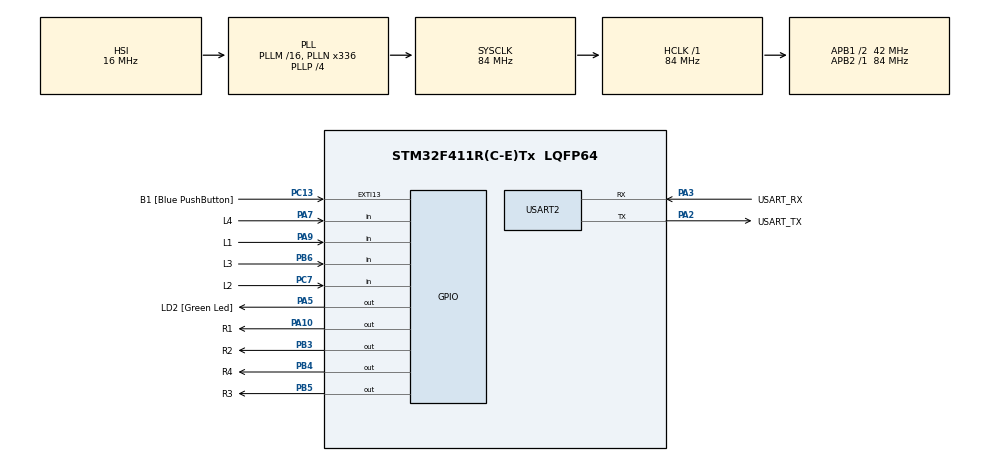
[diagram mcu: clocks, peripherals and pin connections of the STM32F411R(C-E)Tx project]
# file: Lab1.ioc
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Mcu.Family=STM32F4
Mcu.Name=STM32F411R(C-E)Tx
Mcu.Package=LQFP64
NVIC.PriorityGroup=NVIC_PRIORITYGROUP_0
PA10.GPIO_Label=R1
PA10.PinState=GPIO_PIN_SET
PA10.Signal=GPIO_Output
PA13.GPIO_Label=TMS
PA13.Mode=Serial_Wire
PA13.Signal=SYS_JTMS-SWDIO
PA14.GPIO_Label=TCK
PA14.Mode=Serial_Wire
PA14.Signal=SYS_JTCK-SWCLK
PA2.GPIO_Label=USART_TX
PA2.Mode=Asynchronous
PA2.Signal=USART2_TX
PA3.GPIO_Label=USART_RX
PA3.Mode=Asynchronous
PA3.Signal=USART2_RX
PA5.GPIO_Label=LD2 [Green Led]
PA5.Signal=GPIO_Output
PA7.GPIO_Label=L4
PA7.GPIO_PuPd=GPIO_PULLUP
PA7.Signal=GPIO_Input
PA9.GPIO_Label=L1
PA9.GPIO_PuPd=GPIO_PULLUP
PA9.Signal=GPIO_Input
PB3.GPIO_Label=R2
PB3.PinState=GPIO_PIN_SET
PB3.Signal=GPIO_Output
PB4.GPIO_Label=R4
PB4.PinState=GPIO_PIN_SET
PB4.Signal=GPIO_Output
PB5.GPIO_Label=R3
PB5.PinState=GPIO_PIN_SET
PB5.Signal=GPIO_Output
PB6.GPIO_Label=L3
PB6.GPIO_PuPd=GPIO_PULLUP
PB6.Signal=GPIO_Input
PC13-ANTI_TAMP.GPIO_Label=B1 [Blue PushButton]
PC13-ANTI_TAMP.GPIO_ModeDefaultEXTI=GPIO_MODE_IT_FALLING
PC13-ANTI_TAMP.Signal=GPXTI13
PC14-OSC32_IN.Mode=LSE-External-Oscillator
PC14-OSC32_IN.Signal=RCC_OSC32_IN
PC15-OSC32_OUT.Mode=LSE-External-Oscillator
PC15-OSC32_OUT.Signal=RCC_OSC32_OUT
PC7.GPIO_Label=L2
PC7.GPIO_PuPd=GPIO_PULLUP
PC7.Signal=GPIO_Input
PH0\ -\ OSC_IN.Mode=HSE-External-Clock-Source
PH0\ -\ OSC_IN.Signal=RCC_OSC_IN
PH1\ -\ OSC_OUT.Mode=HSE-External-Clock-Source
PH1\ -\ OSC_OUT.Signal=RCC_OSC_OUT
ProjectManager.HeapSize=0x200
ProjectManager.StackSize=0x400
ProjectManager.TargetToolchain=STM32CubeIDE
RCC.48MHZClocksFreq_Value=84000000
RCC.AHBFreq_Value=84000000
RCC.APB1CLKDivider=RCC_HCLK_DIV2
RCC.APB1Freq_Value=42000000
RCC.APB1TimFreq_Value=84000000
RCC.APB2Freq_Value=84000000
RCC.APB2TimFreq_Value=84000000
RCC.CortexFreq_Value=84000000
RCC.FLatency-AdvancedSettings=FLASH_LATENCY_2
RCC.HCLKFreq_Value=84000000
RCC.HSE_VALUE=8000000
RCC.HSI_VALUE=16000000
RCC.PLLN=336
RCC.PLLP=RCC_PLLP_DIV4
RCC.SYSCLKFreq_VALUE=84000000
RCC.SYSCLKSource=RCC_SYSCLKSOURCE_PLLCLK
RCC.VCOOutputFreq_Value=336000000
USART2.VirtualMode=VM_ASYNC
board=NUCLEO-F411RE

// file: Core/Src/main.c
/* USER CODE BEGIN Header */
/**
 ******************************************************************************
 * @file           : main.c
 * @brief          : Main program body
 ******************************************************************************
 * @attention
 *
 * Copyright (c) 2023 STMicroelectronics.
 * All rights reserved.
 *
 * This software is licensed under terms that can be found in the LICENSE file
 * in the root directory of this software component.
 * If no LICENSE file comes with this software, it is provided AS-IS.
 *
 ******************************************************************************
 */
/* USER CODE END Header */
#include "main.h"

UART_HandleTypeDef huart2;

/* USER CODE BEGIN PV */

//create Structure of PortPin ,Typedef it to type name PortPin
typedef struct _PortPin {
	GPIO_TypeDef *PORT;
	uint16_t PIN;
} PortPin;

//declare PortPin R,L
PortPin R[4] = { { GPIOA, GPIO_PIN_10 }, { GPIOB, GPIO_PIN_3 }, { GPIOB,
GPIO_PIN_5 }, { GPIOB, GPIO_PIN_4 } };

PortPin L[4] = { { GPIOA, GPIO_PIN_9 }, { GPIOC, GPIO_PIN_7 }, { GPIOB,
GPIO_PIN_6 }, { GPIOA, GPIO_PIN_7 } };

//For Button Contenter  // create tuapeeee
uint16_t ButtonMatrix = 0;

uint32_t SumNumber = 0;
uint32_t LastButton = 0;
uint32_t FirstNumber = 0;
uint32_t MidNumber = 0;
uint32_t LastNumber = 0;
/* USER CODE END PV */

void SystemClock_Config(void);
static void MX_GPIO_Init(void);
static void MX_USART2_UART_Init(void);
/* USER CODE BEGIN PFP */
void ReadMatrixButton_1Row();
/* USER CODE END PFP */

int main(void)
{

  /* MCU Configuration--------------------------------------------------------*/

  /* Reset of all peripherals, Initializes the Flash interface and the Systick. */
  HAL_Init();

  /* Configure the system clock */
  SystemClock_Config();

  /* Initialize all configured peripherals */
  MX_GPIO_Init();
  MX_USART2_UART_Init();

  /* Infinite loop */
	while (1) {

    /* USER CODE BEGIN 3 */
		//Call function every 10 ms = 100Hz
		static uint32_t timestamp = 0;
		if (HAL_GetTick() >= timestamp) {
			timestamp = HAL_GetTick() + 10;
			ReadMatrixButton_1Row();

			if (LastButton == 0 && ButtonMatrix > 0)
			{
				if (ButtonMatrix == 8) // 0
				{
					SumNumber += 8;
				}

				else if (ButtonMatrix == 4) // 1
				{
					SumNumber += 4;
				}

				else if (ButtonMatrix == 64) // 2
				{
					SumNumber += 64;
				}

				else if (ButtonMatrix == 1024) // 3
				{
					SumNumber += 1024;
				}

				else if (ButtonMatrix == 2) // 4
				{
					if (SumNumber == 2116){
						LastNumber += 1;
					}

					SumNumber += 2;
				}

				else if (ButtonMatrix == 32) // 5
				{
					if (SumNumber == 1548){ // 64340
						MidNumber += 1;
					}

					SumNumber += 32;
				}

				else if (ButtonMatrix == 512) // 6
				{
					if(SumNumber == 0){
						FirstNumber += 1;
					}

					SumNumber += 512;

				}

				else if (ButtonMatrix == 1) // 7
				{
					SumNumber += 1;
				}

				else if (ButtonMatrix == 16 ) // 8
				{
					SumNumber += 16;
				}

				else if (ButtonMatrix == 256) // 9
				{
					SumNumber += 256;
				}

				//LastButton = Button ;

				if (ButtonMatrix == 4096) // clear
					{
					HAL_GPIO_WritePin(GPIOA, GPIO_PIN_5, RESET); // LED OFF
					SumNumber = 0;
					FirstNumber = 0;
					MidNumber = 0;
					LastNumber = 0;
					}

				if ((ButtonMatrix == 32768) && (SumNumber == 2118) && (FirstNumber == 1 ) && (MidNumber == 1) && (LastNumber == 1)) // OK 64340500064
					{

					HAL_GPIO_WritePin(GPIOA, GPIO_PIN_5, SET); // LED ON
					}
			}

			LastButton = ButtonMatrix;
		}
	}

  /* USER CODE END 3 */
}

void SystemClock_Config(void)
{
  RCC_OscInitTypeDef RCC_OscInitStruct = {0};
  RCC_ClkInitTypeDef RCC_ClkInitStruct = {0};

  /** Configure the main internal regulator output voltage
  */
  __HAL_RCC_PWR_CLK_ENABLE();
  __HAL_PWR_VOLTAGESCALING_CONFIG(PWR_REGULATOR_VOLTAGE_SCALE1);

  /** Initializes the RCC Oscillators according to the specified parameters
  * in the RCC_OscInitTypeDef structure.
  */
  RCC_OscInitStruct.OscillatorType = RCC_OSCILLATORTYPE_HSI;
  RCC_OscInitStruct.HSIState = RCC_HSI_ON;
  RCC_OscInitStruct.HSICalibrationValue = RCC_HSICALIBRATION_DEFAULT;
  RCC_OscInitStruct.PLL.PLLState = RCC_PLL_ON;
  RCC_OscInitStruct.PLL.PLLSource = RCC_PLLSOURCE_HSI;
  RCC_OscInitStruct.PLL.PLLM = 16;
  RCC_OscInitStruct.PLL.PLLN = 336;
  RCC_OscInitStruct.PLL.PLLP = RCC_PLLP_DIV4;
  RCC_OscInitStruct.PLL.PLLQ = 4;
  if (HAL_RCC_OscConfig(&RCC_OscInitStruct) != HAL_OK)
  {
    Error_Handler();
  }

  /** Initializes the CPU, AHB and APB buses clocks
  */
  RCC_ClkInitStruct.ClockType = RCC_CLOCKTYPE_HCLK|RCC_CLOCKTYPE_SYSCLK
                              |RCC_CLOCKTYPE_PCLK1|RCC_CLOCKTYPE_PCLK2;
  RCC_ClkInitStruct.SYSCLKSource = RCC_SYSCLKSOURCE_PLLCLK;
  RCC_ClkInitStruct.AHBCLKDivider = RCC_SYSCLK_DIV1;
  RCC_ClkInitStruct.APB1CLKDivider = RCC_HCLK_DIV2;
  RCC_ClkInitStruct.APB2CLKDivider = RCC_HCLK_DIV1;

  if (HAL_RCC_ClockConfig(&RCC_ClkInitStruct, FLASH_LATENCY_2) != HAL_OK)
  {
    Error_Handler();
  }
}

static void MX_USART2_UART_Init(void)
{

  huart2.Instance = USART2;
  huart2.Init.BaudRate = 115200;
  huart2.Init.WordLength = UART_WORDLENGTH_8B;
  huart2.Init.StopBits = UART_STOPBITS_1;
  huart2.Init.Parity = UART_PARITY_NONE;
  huart2.Init.Mode = UART_MODE_TX_RX;
  huart2.Init.HwFlowCtl = UART_HWCONTROL_NONE;
  huart2.Init.OverSampling = UART_OVERSAMPLING_16;
  if (HAL_UART_Init(&huart2) != HAL_OK)
  {
    Error_Handler();
  }

}

static void MX_GPIO_Init(void)
{
  GPIO_InitTypeDef GPIO_InitStruct = {0};

  /* GPIO Ports Clock Enable */
  __HAL_RCC_GPIOC_CLK_ENABLE();
  __HAL_RCC_GPIOH_CLK_ENABLE();
  __HAL_RCC_GPIOA_CLK_ENABLE();
  __HAL_RCC_GPIOB_CLK_ENABLE();

  /*Configure GPIO pin Output Level */
  HAL_GPIO_WritePin(LD2_GPIO_Port, LD2_Pin, GPIO_PIN_RESET);

  /*Configure GPIO pin Output Level */
  HAL_GPIO_WritePin(R1_GPIO_Port, R1_Pin, GPIO_PIN_SET);

  /*Configure GPIO pin Output Level */
  HAL_GPIO_WritePin(GPIOB, R2_Pin|R4_Pin|R3_Pin, GPIO_PIN_SET);

  /*Configure GPIO pin : B1_Pin */
  GPIO_InitStruct.Pin = B1_Pin;
  GPIO_InitStruct.Mode = GPIO_MODE_IT_FALLING;
  GPIO_InitStruct.Pull = GPIO_NOPULL;
  HAL_GPIO_Init(B1_GPIO_Port, &GPIO_InitStruct);

  /*Configure GPIO pins : LD2_Pin R1_Pin */
  GPIO_InitStruct.Pin = LD2_Pin|R1_Pin;
  GPIO_InitStruct.Mode = GPIO_MODE_OUTPUT_PP;
  GPIO_InitStruct.Pull = GPIO_NOPULL;
  GPIO_InitStruct.Speed = GPIO_SPEED_FREQ_LOW;
  HAL_GPIO_Init(GPIOA, &GPIO_InitStruct);

  /*Configure GPIO pins : L4_Pin L1_Pin */
  GPIO_InitStruct.Pin = L4_Pin|L1_Pin;
  GPIO_InitStruct.Mode = GPIO_MODE_INPUT;
  GPIO_InitStruct.Pull = GPIO_PULLUP;
  HAL_GPIO_Init(GPIOA, &GPIO_InitStruct);

  /*Configure GPIO pin : L2_Pin */
  GPIO_InitStruct.Pin = L2_Pin;
  GPIO_InitStruct.Mode = GPIO_MODE_INPUT;
  GPIO_InitStruct.Pull = GPIO_PULLUP;
  HAL_GPIO_Init(L2_GPIO_Port, &GPIO_InitStruct);

  /*Configure GPIO pins : R2_Pin R4_Pin R3_Pin */
  GPIO_InitStruct.Pin = R2_Pin|R4_Pin|R3_Pin;
  GPIO_InitStruct.Mode = GPIO_MODE_OUTPUT_PP;
  GPIO_InitStruct.Pull = GPIO_NOPULL;
  GPIO_InitStruct.Speed = GPIO_SPEED_FREQ_LOW;
  HAL_GPIO_Init(GPIOB, &GPIO_InitStruct);

  /*Configure GPIO pin : L3_Pin */
  GPIO_InitStruct.Pin = L3_Pin;
  GPIO_InitStruct.Mode = GPIO_MODE_INPUT;
  GPIO_InitStruct.Pull = GPIO_PULLUP;
  HAL_GPIO_Init(L3_GPIO_Port, &GPIO_InitStruct);

}

/* USER CODE BEGIN 4 */
void ReadMatrixButton_1Row() {
	//
	static uint8_t X = 0;

	//READ L1-L4
	register int i;
	for (i = 0; i < 4; i++) {
		if (HAL_GPIO_ReadPin(L[i].PORT, L[i].PIN))
		{
			ButtonMatrix &= ~(1 << (X * 4 + i));

		}
		else
		{
			ButtonMatrix |= 1 << (X * 4 + i);

		}

	}
	//SET RX
	HAL_GPIO_WritePin(R[X].PORT, R[X].PIN, 1);
	//RESET RX+1%4
	HAL_GPIO_WritePin(R[(X + 1) % 4].PORT, R[(X + 1) % 4].PIN, 0);
	X++;
	X %= 4; // it is mod. eg. 4 %= 4 = 1 เศษ 0 ----> x = 0
}
/* USER CODE END 4 */

void Error_Handler(void)
{
	__disable_irq();
	while (1) {
	}
}
